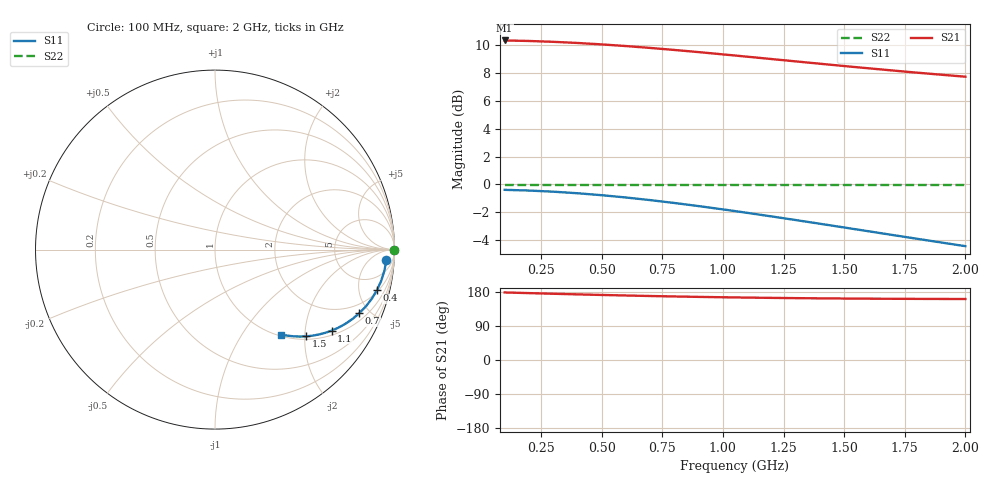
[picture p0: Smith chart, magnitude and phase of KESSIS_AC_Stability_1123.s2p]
! Created Thu Feb 25 13:12:28 2016
# mhz S ri R 50
! 2 Port Network Data from SP1.SP block
! freq  reS11  imS11  reS21  imS21  reS12  imS12  reS22  imS22
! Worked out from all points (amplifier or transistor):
!   20 points, 100 MHz to 2 GHz, reference 50 ohm
!   highest |S21| = 10.3 dB at 100 MHz (marker M1)
!   |S21| within 3 dB of that: start of sweep to end of sweep
!   unconditionally stable (mu >= 1): start of sweep to end of sweep
!   at 400 MHz: K = 725733.10, MAG = 43.6 dB, |S12| = - dB
!   at 1.1 GHz: K = 2521769.89, MAG = 38.2 dB, |S12| = - dB
!   at 2 GHz: K = 5997352.76, MAG = 34.5 dB, |S12| = - dB
!   lowest NFmin = 0.59 dB at 100 MHz
!   S11 on the Smith chart (normalised r, x): 100 MHz: 15, -21; 400 MHz: 2.21, -7.43; 700 MHz: 1.39, -4.32; 1.1 GHz: 1.15, -2.76; 1.5 GHz: 1.07, -2.03; 2 GHz: 1.03, -1.52
100  0.9546 -0.06  -3.284 0.1008  9.76e-11 -3e-12  0.9983 5.04e-12
200  0.9436 -0.1186  -3.265 0.1993  9.71e-11 -5.93e-12  0.9983 9.96e-12
300  0.9258 -0.1746  -3.235 0.2934  9.62e-11 -8.73e-12  0.9983 1.47e-11
400  0.9019 -0.2269  -3.195 0.3812  9.5e-11 -1.13e-11  0.9983 1.9e-11
500  0.8729 -0.2747  -3.146 0.4614  9.36e-11 -1.37e-11  0.9983 2.31e-11
600  0.84 -0.3173  -3.091 0.533  9.19e-11 -1.59e-11  0.9983 2.66e-11
700  0.804 -0.3545  -3.031 0.5956  9.01e-11 -1.77e-11  0.9983 2.98e-11
800  0.7662 -0.3863  -2.967 0.649  8.82e-11 -1.93e-11  0.9983 3.24e-11
900  0.7273 -0.4129  -2.902 0.6936  8.63e-11 -2.06e-11  0.9983 3.47e-11
1000  0.6882 -0.4344  -2.836 0.7298  8.43e-11 -2.17e-11  0.9983 3.65e-11
1100  0.6496 -0.4515  -2.771 0.7584  8.24e-11 -2.26e-11  0.9983 3.79e-11
1200  0.6118 -0.4644  -2.708 0.7801  8.05e-11 -2.32e-11  0.9983 3.9e-11
1300  0.5755 -0.4737  -2.647 0.7957  7.87e-11 -2.37e-11  0.9983 3.98e-11
1400  0.5407 -0.4798  -2.588 0.806  7.7e-11 -2.4e-11  0.9983 4.03e-11
1500  0.5076 -0.4833  -2.533 0.8118  7.53e-11 -2.41e-11  0.9983 4.06e-11
1600  0.4764 -0.4844  -2.48 0.8138  7.38e-11 -2.42e-11  0.9983 4.07e-11
1700  0.4471 -0.4837  -2.431 0.8126  7.23e-11 -2.42e-11  0.9983 4.06e-11
1800  0.4196 -0.4814  -2.385 0.8087  7.09e-11 -2.4e-11  0.9983 4.04e-11
1900  0.3939 -0.4778  -2.342 0.8026  6.96e-11 -2.39e-11  0.9983 4.01e-11
2000  0.37 -0.4731  -2.301 0.7949  6.84e-11 -2.36e-11  0.9983 3.97e-11
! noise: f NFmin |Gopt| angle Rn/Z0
100  0.5867  0.6386  3.779  0.2975
300  0.7237  0.5722  11.53  0.2975
500  0.9336  0.4833  19.87  0.2975
700  1.17  0.3997  29.17  0.2975
900  1.412  0.331  39.79  0.2975
1100  1.649  0.2793  51.86  0.2975
1300  1.875  0.2442  65.09  0.2975
1500  2.089  0.2238  78.68  0.2975
1700  2.287  0.215  91.56  0.2975
2000  2.558  0.2163  107.9  0.2975
